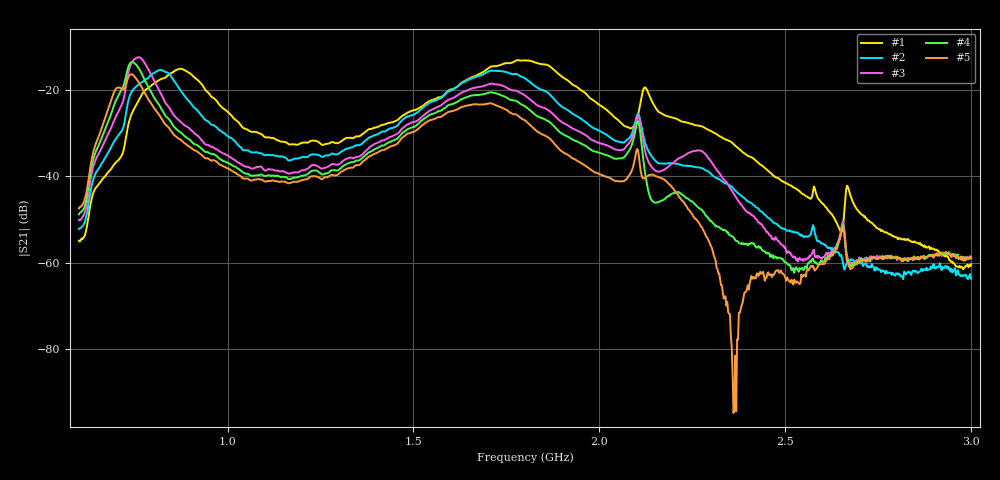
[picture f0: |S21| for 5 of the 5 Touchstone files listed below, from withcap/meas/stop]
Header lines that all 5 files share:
#  HZ  S  RI  R  50.00
! Rohde & Schwarz ZVB8 2Ports - Version 2.81 - 1145.1010k08 SN: 100113
! Measurements: S11 S21 S12 S22
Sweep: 600 MHz to 3 GHz
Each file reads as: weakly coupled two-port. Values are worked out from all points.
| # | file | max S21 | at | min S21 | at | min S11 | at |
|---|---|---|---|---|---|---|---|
| 1 | wonderant_f_3_0_0.s2p | -13.18 dB | 1.78 GHz | -61.5 dB | 2.978 GHz | -13.0 dB | 1.82 GHz |
| 2 | wonderant_f_f_0_0.s2p | -15.45 dB | 821 MHz | -63.8 dB | 2.817 GHz | -12.7 dB | 746.5 MHz |
| 3 | wonderant_f_f_f_1.s2p | -12.51 dB | 761 MHz | -60.3 dB | 2.68 GHz | -11.4 dB | 746.5 MHz |
| 4 | wonderant_f_f_f_9.s2p | -13.63 dB | 744.1 MHz | -62.4 dB | 2.524 GHz | -12.6 dB | 751.4 MHz |
| 5 | wonderant_f_f_f_f.s2p | -16.44 dB | 741.7 MHz | -94.8 dB | 2.361 GHz | -13.4 dB | 751.4 MHz |
